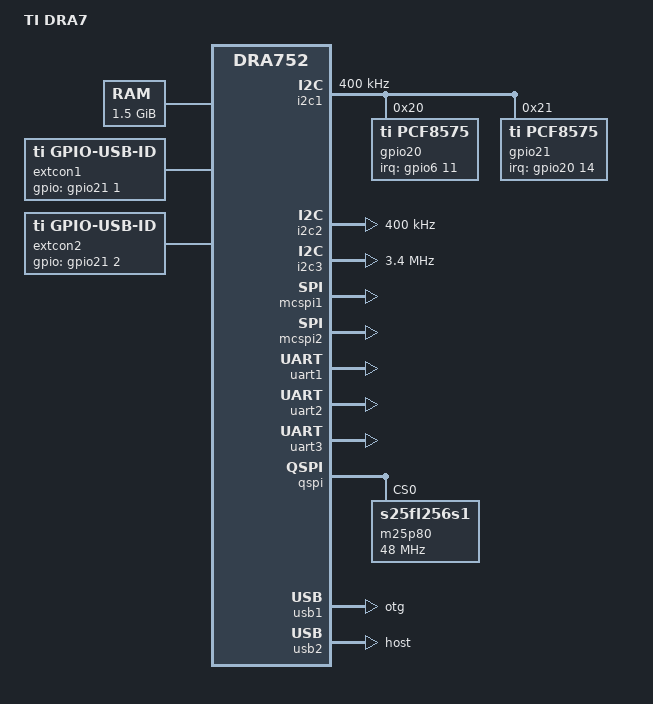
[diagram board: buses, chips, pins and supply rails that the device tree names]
/*
 * Copyright (C) 2013 Texas Instruments Incorporated - http://www.ti.com/
 *
 * This program is free software; you can redistribute it and/or modify
 * it under the terms of the GNU General Public License version 2 as
 * published by the Free Software Foundation.
 */
/dts-v1/;

#include "dra7.dtsi"

/ {
	model = "TI DRA7";
	compatible = "ti,dra7-evm", "ti,dra752", "ti,dra7";

	memory {
		device_type = "memory";
		reg = <0x80000000 0x60000000>; /* 1536 MB */
	};

	extcon1: gpio_usbvid_extcon1 {
		compatible = "ti,gpio-usb-id";
		gpios = <&gpio21 1 0>;
	};

	extcon2: gpio_usbvid_extcon2 {
		compatible = "ti,gpio-usb-id";
		gpios = <&gpio21 2 0>;
	};
};

&dra7_pmx_core {
	i2c1_pins: pinmux_i2c1_pins {
		pinctrl-single,pins = <
			0x400 0x60000	/* i2c1_sda */
			0x404 0x60000	/* i2c1_scl */
		>;
	};

	i2c2_pins: pinmux_i2c2_pins {
		pinctrl-single,pins = <
			0x408 0x60000	/* i2c2_sda */
			0x40c 0x60000	/* i2c2_scl */
		>;
	};

	i2c3_pins: pinmux_i2c3_pins {
		pinctrl-single,pins = <
			0x410 0x60000	/* i2c3_sda */
			0x414 0x60000	/* i2c3_scl */
		>;
	};

	mcspi1_pins: pinmux_mcspi1_pins {
		pinctrl-single,pins = <
			0x3a4 0x40000	/* spi2_clk */
			0x3a8 0x40000	/* spi2_d1 */
			0x3ac 0x40000	/* spi2_d0 */
			0x3b0 0xc0000	/* spi2_cs0 */
			0x3b4 0xc0000	/* spi2_cs1 */
			0x3b8 0xe0006	/* spi2_cs2 */
			0x3bc 0xe0006	/* spi2_cs3 */
		>;
	};

	mcspi2_pins: pinmux_mcspi2_pins {
		pinctrl-single,pins = <
			0x3c0 0x40000	/* spi2_sclk */
			0x3c4 0xc0000	/* spi2_d1 */
			0x3c8 0xc0000	/* spi2_d1 */
			0x3cc 0xe0000	/* spi2_cs0 */
		>;
	};

	uart1_pins: pinmux_uart1_pins {
		pinctrl-single,pins = <
			0x3e0 0xe0000	/* uart1_rxd */
			0x3e4 0xe0000	/* uart1_txd */
			0x3e8 0x60003	/* uart1_ctsn */
			0x3ec 0x60003	/* uart1_rtsn */
		>;
	};

	uart2_pins: pinmux_uart2_pins {
		pinctrl-single,pins = <
			0x3f0 0x60000 /* uart2_rxd */
			0x3f4 0x60000 /* uart2_txd */
			0x3f8 0x60000 /* uart2_ctsn */
			0x3fc 0x60000 /* uart2_rtsn */
		>;
	};

	uart3_pins: pinmux_uart3_pins {
		pinctrl-single,pins = <
			0x248 0xc0000 /* uart3_rxd */
			0x24c 0xc0000 /* uart3_txd */
		>;
	};

	qspi1_pins: pinmux_qspi1_pins {
		pinctrl-single,pins = <
			0x4c 0x40001  /* gpmc_a3.qspi1_cs2 */
			0x50 0x40001  /* gpmc_a4.qspi1_cs3 */
			0x74 0x40001  /* gpmc_a13.qspi1_rtclk */
			0x78 0x40001  /* gpmc_a14.qspi1_d3 */
			0x7c 0x40001  /* gpmc_a15.qspi1_d2 */
			0x80 0x40001  /* gpmc_a16.qspi1_d1 */
			0x84 0x40001  /* gpmc_a17.qspi1_d0 */
			0x88 0x40001  /* qpmc_a18.qspi1_sclk */
			0xb8 0x60001  /* gpmc_cs2.qspi1_cs0 */
			0xbc 0x60001  /* gpmc_cs3.qspi1_cs1 */
		>;
	};

	usb1_pins: pinmux_usb1_pins {
                pinctrl-single,pins = <
			0x280	0xc0000	/* usb1_drvvbus, SLOW_SLEW | PULLUPEN | MODE0 */
                >;
        };

	usb2_pins: pinmux_usb2_pins {
                pinctrl-single,pins = <
			0x284	0xc0000 /* usb2_drvvbus, SLOW_SLEW | PULLUPEN | MODE0 */
                >;
        };
};

&i2c1 {
	status = "okay";
	pinctrl-names = "default";
	pinctrl-0 = <&i2c1_pins>;
	clock-frequency = <400000>;

	gpio20: gpio@20 {
		compatible = "ti,pcf8575";
		reg = <0x20>;
		lines-initial-states = <0x4000>;
		gpio-controller;
		#gpio-cells = <2>;
		interrupt-parent = <&gpio6>;
		interrupts = <11 2>;
		interrupt-controller;
		#interrupt-cells = <2>;
	};

	gpio21: gpio@21 {
		compatible = "ti,pcf8575";
		reg = <0x21>;
		lines-initial-states = <0x1408>;
		gpio-controller;
		#gpio-cells = <2>;
		interrupt-parent = <&gpio20>;
		interrupts = <14 2>;
		interrupt-controller;
		#interrupt-cells = <2>;
	};
};

&i2c2 {
	status = "okay";
	pinctrl-names = "default";
	pinctrl-0 = <&i2c2_pins>;
	clock-frequency = <400000>;
};

&i2c3 {
	status = "okay";
	pinctrl-names = "default";
	pinctrl-0 = <&i2c3_pins>;
	clock-frequency = <3400000>;
};

&mcspi1 {
        status = "okay";
	pinctrl-names = "default";
	pinctrl-0 = <&mcspi1_pins>;
};

&mcspi2 {
        status = "okay";
	pinctrl-names = "default";
	pinctrl-0 = <&mcspi2_pins>;
};

&uart1 {
	status = "okay";
        pinctrl-names = "default";
        pinctrl-0 = <&uart1_pins>;
};

&uart2 {
        status = "okay";
        pinctrl-names = "default";
        pinctrl-0 = <&uart2_pins>;
};

&uart3 {
        status = "okay";
        pinctrl-names = "default";
        pinctrl-0 = <&uart3_pins>;
};

&qspi {
	status = "okay";
	pinctrl-names = "default";
	pinctrl-0 = <&qspi1_pins>;

	spi-max-frequency = <48000000>;
	m25p80@0 {
		compatible = "s25fl256s1";
		spi-max-frequency = <48000000>;
		reg = <0>;
		spi-tx-bus-width = <1>;
		spi-rx-bus-width = <4>;
		spi-cpol;
		spi-cpha;
	};
};

&usb1 {
	dr_mode = "otg";
	pinctrl-names = "default";
	pinctrl-0 = <&usb1_pins>;
};

&usb2 {
	dr_mode = "host";
	pinctrl-names = "default";
	pinctrl-0 = <&usb2_pins>;
};

&dwc3_1 {
	extcon = <&extcon1>;
};

&dwc3_2 {
	extcon = <&extcon2>;
};
